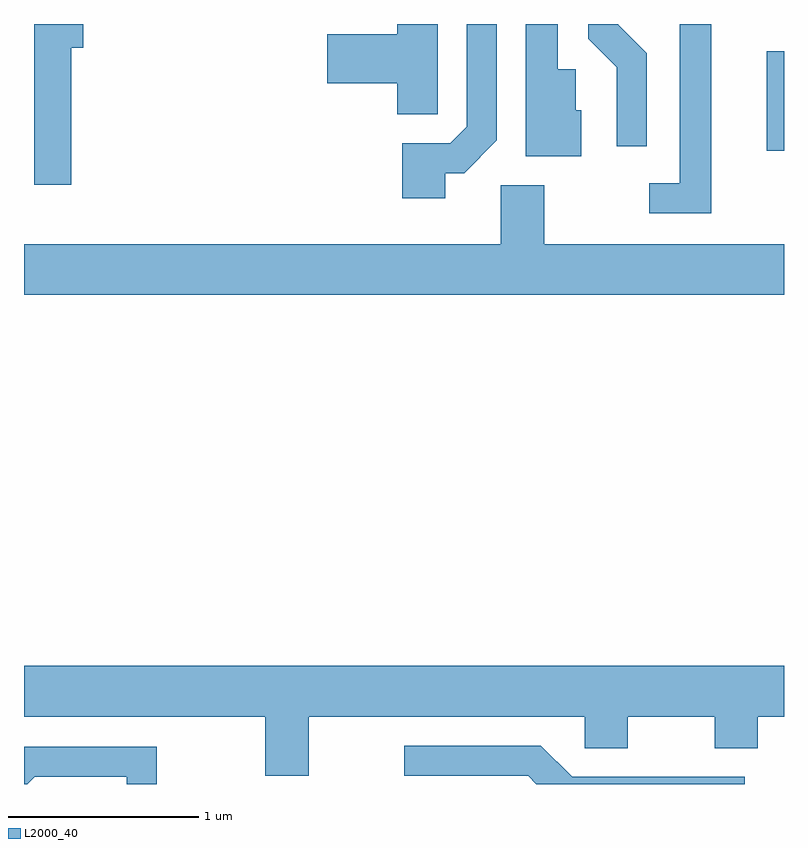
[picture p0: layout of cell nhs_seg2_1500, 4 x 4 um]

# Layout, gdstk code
import gdstk
lib = gdstk.Library(unit=1e-6, precision=1e-09)
def R(c, l, rs):  # rectangles x0, y0, x1, y1
    for r in rs: c.add(gdstk.rectangle(r[:2], r[2:], *l))
def P(c, l, *ps):  # polygons
    for p in ps: c.add(gdstk.Polygon(p, *l))
L2000_40 = (2000, 40)

nhs_seg2_1500 = lib.new_cell('nhs_seg2_1500')
R(nhs_seg2_1500, L2000_40, [(233.521,989.136,233.611,989.659)])
P(nhs_seg2_1500, L2000_40, [(231.789,989.802),(231.576,989.802),(231.576,989.749),(231.206,989.749),(231.206,989.491),(231.576,989.491),(231.576,989.326),(231.789,989.326)],
  [(233.229,989.802),(233.061,989.802),(233.061,988.964),(232.903,988.964),(232.903,988.806),(233.229,988.806)],
  [(229.859,989.676),(229.924,989.676),(229.924,989.802),(229.666,989.802),(229.666,988.956),(229.859,988.956)],
  [(232.544,989.349),(232.514,989.349),(232.514,989.564),(232.419,989.564),(232.419,989.802),(232.251,989.802),(232.251,989.106),(232.544,989.106)],
  [(231.829,989.016),(231.927,989.016),(232.099,989.189),(232.099,989.802),(231.941,989.802),(231.941,989.262),(231.854,989.174),(231.601,989.174),(231.601,988.886),(231.829,988.886)],
  [(232.889,989.647),(232.739,989.797),(232.739,989.802),(232.581,989.802),(232.581,989.724),(232.731,989.574),(232.731,989.158),(232.889,989.158)],
  [(233.611,988.644),(232.349,988.644),(232.349,988.954),(232.121,988.954),(232.121,988.644),(229.611,988.644),(229.611,988.376),(233.611,988.376)],
  [(231.109,986.156),(232.561,986.156),(232.561,985.991),(232.789,985.991),(232.789,986.156),(233.246,986.156),(233.246,985.991),(233.474,985.991),(233.474,986.156),(233.611,986.156),(233.611,986.424),(229.611,986.424),(229.611,986.156),(230.881,986.156),(230.881,985.846),(231.109,985.846)],
  [(233.404,985.839),(232.497,985.839),(232.332,986.004),(231.613,986.004),(231.613,985.846),(232.264,985.846),(232.308,985.802),(233.404,985.802)],
  [(229.667,985.841),(230.151,985.841),(230.151,985.802),(230.309,985.802),(230.309,985.999),(229.611,985.999),(229.611,985.802),(229.628,985.802)])

lib.write_gds('nhs_seg2_1500.gds')
